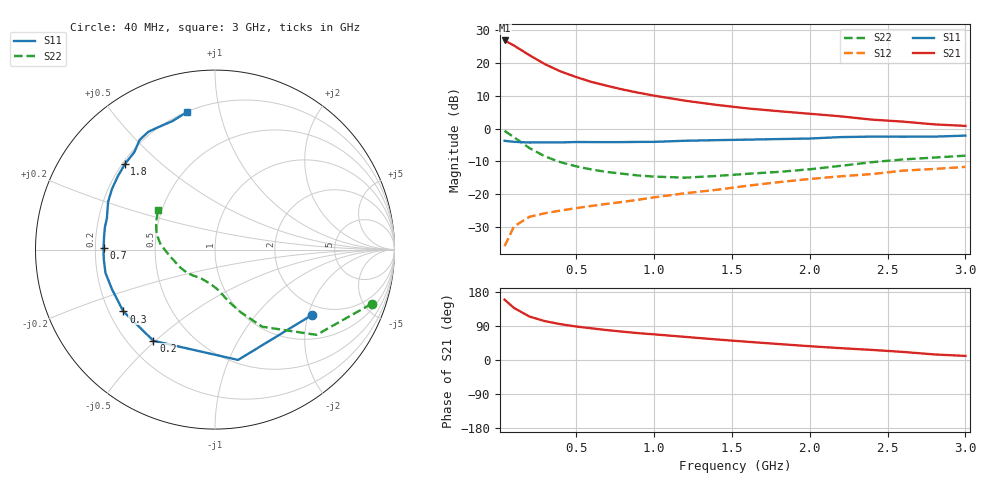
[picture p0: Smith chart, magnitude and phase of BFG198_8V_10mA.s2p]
! Filename:  BFG198F.S2P  Version:  2.0
! Philips part #: BFG198  Date: Jul 1990
! Bias condition: Vce=8V, Ic=10mA
#  MHz  S  MA  R  50
! Freq  S11  S21  S12  S22  !GUM [dB]
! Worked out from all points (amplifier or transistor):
!   21 points, 40 MHz to 3 GHz, reference 50 ohm
!   highest |S21| = 26.9 dB at 40 MHz (marker M1)
!   |S21| within 3 dB of that: start of sweep to 148.9 MHz
!   unconditionally stable (mu >= 1): 740.2 MHz to end of sweep
!   at 300 MHz: K = 0.56, MSG = 22.8 dB, |S12| = -25.8 dB
!   at 1 GHz: K = 1.13, MAG = 13.4 dB, |S12| = -21.0 dB
!   at 3 GHz: K = 1.02, MAG = 5.3 dB, |S12| = -11.7 dB
!   S11 on the Smith chart (normalised r, x): 40 MHz: 1.67, -2.11; 200 MHz: 0.30, -0.49; 300 MHz: 0.26, -0.29; 700 MHz: 0.23, +0.01; 1.8 GHz: 0.21, +0.38; 3 GHz: 0.20, +0.79
40  0.651 -34.1  22.19 159.2  0.016 75.3  0.923 -19.1
100  0.628 -78.2  18.57 137.4  0.032 57.6  0.739 -40.0
200  0.613 -124.0  13.19 114.6  0.045 45.3  0.504 -58.5
300  0.616 -146.0  9.612 102.4  0.051 43.1  0.375 -67.9
400  0.615 -159.0  7.459 94.5  0.056 44.2  0.306 -74.4
500  0.624 -168.0  6.126 88.3  0.061 46.2  0.265 -79.1
600  0.622 -175.0  5.147 83.5  0.066 47.9  0.237 -83.5
700  0.621 179.3  4.491 78.8  0.071 50.7  0.217 -87.8
800  0.622 173.8  3.947 74.7  0.076 52.9  0.204 -92.5
900  0.626 168.5  3.53 70.8  0.082 55.2  0.192 -97.9
1000  0.627 163.9  3.187 67.7  0.089 57.0  0.185 -104.0
1200  0.652 156.0  2.666 61.0  0.103 58.9  0.178 -117.0
1400  0.666 149.6  2.305 54.3  0.116 60.5  0.189 -130.0
1600  0.678 143.0  2.033 48.1  0.134 62.4  0.204 -142.0
1800  0.692 136.6  1.844 42.2  0.152 60.0  0.218 -153.0
2000  0.705 129.6  1.685 36.4  0.17 60.7  0.239 -166.0
2200  0.742 124.4  1.538 31.2  0.187 59.1  0.27 -177.0
2400  0.754 119.5  1.37 26.6  0.202 59.0  0.307 173.7
2600  0.752 115.1  1.277 21.3  0.228 55.8  0.338 164.7
2800  0.754 108.4  1.16 14.7  0.242 51.7  0.361 155.4
3000  0.781 101.7  1.099 10.8  0.26 50.2  0.386 145.3
